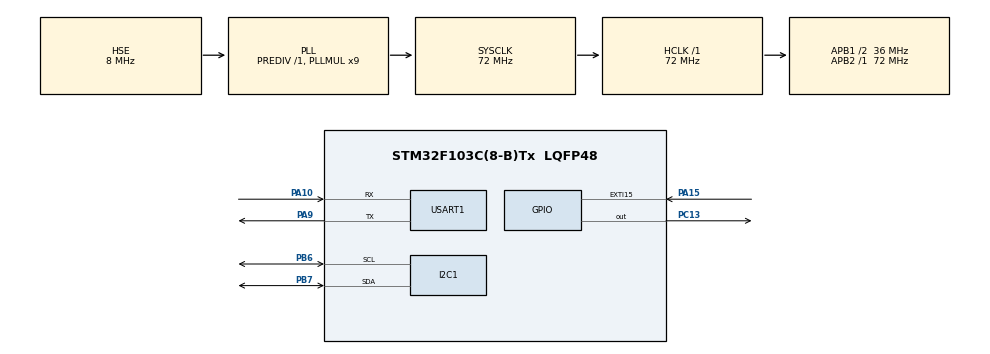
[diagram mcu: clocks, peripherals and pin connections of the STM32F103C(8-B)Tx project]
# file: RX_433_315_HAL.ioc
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I2C1.I2C_Mode=I2C_Fast
IWDG.Prescaler=IWDG_PRESCALER_64
Mcu.Family=STM32F1
Mcu.Name=STM32F103C(8-B)Tx
Mcu.Package=LQFP48
NVIC.EXTI15_10_IRQn=true\:0\:0\:false\:false\:true\:true\:true
NVIC.PriorityGroup=NVIC_PRIORITYGROUP_4
PA10.Mode=Asynchronous
PA10.Signal=USART1_RX
PA13.Mode=Serial_Wire
PA13.Signal=SYS_JTMS-SWDIO
PA14.Mode=Serial_Wire
PA14.Signal=SYS_JTCK-SWCLK
PA15.GPIO_ModeDefaultEXTI=GPIO_MODE_IT_RISING_FALLING
PA15.Signal=GPXTI15
PA9.Mode=Asynchronous
PA9.Signal=USART1_TX
PB6.Mode=I2C
PB6.Signal=I2C1_SCL
PB7.Mode=I2C
PB7.Signal=I2C1_SDA
PC13-TAMPER-RTC.Signal=GPIO_Output
PD0-OSC_IN.Mode=HSE-External-Oscillator
PD0-OSC_IN.Signal=RCC_OSC_IN
PD1-OSC_OUT.Mode=HSE-External-Oscillator
PD1-OSC_OUT.Signal=RCC_OSC_OUT
ProjectManager.HeapSize=0x200
ProjectManager.StackSize=0x400
ProjectManager.TargetToolchain=MDK-ARM V5.32
RCC.AHBFreq_Value=72000000
RCC.APB1CLKDivider=RCC_HCLK_DIV2
RCC.APB1Freq_Value=36000000
RCC.APB1TimFreq_Value=72000000
RCC.APB2Freq_Value=72000000
RCC.APB2TimFreq_Value=72000000
RCC.HCLKFreq_Value=72000000
RCC.PLLMUL=RCC_PLL_MUL9
RCC.PLLSourceVirtual=RCC_PLLSOURCE_HSE
RCC.SYSCLKFreq_VALUE=72000000
RCC.SYSCLKSource=RCC_SYSCLKSOURCE_PLLCLK
RCC.USBFreq_Value=72000000
USART1.VirtualMode=VM_ASYNC
VP_IWDG_VS_IWDG.Mode=IWDG_Activate
board=custom

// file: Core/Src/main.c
/* USER CODE BEGIN Header */
/**
  ******************************************************************************
 * Программа демонстрации приема данных с радиопульта дистанционного управления
 * Микроконтроллер - STM32F103CBT6 (Blue Pill)
 * Завершено 15.06.2022
 * Автор: MelexinVN / Мелехин Владимир Николаевич
 * МНХС
  ******************************************************************************
  */
/* USER CODE END Header */
#include "main.h"

I2C_HandleTypeDef hi2c1;

IWDG_HandleTypeDef hiwdg;

UART_HandleTypeDef huart1;

/* USER CODE BEGIN PV */
volatile uint8_t f_received = 0;			//флаг прихода послыки
extern uint8_t bit_array[SIZE_ARRAY];	//массив принятых битов
extern uint8_t dev_addr;							//адрес устройства
extern uint8_t tx_addr;								//адрес передатчика
extern uint8_t command;								//команда
extern uint8_t crc;										//контрольная сумма
char str[64] = {0};										//строка для отображения данных
/* USER CODE END PV */

void SystemClock_Config(void);
static void MX_GPIO_Init(void);
static void MX_IWDG_Init(void);
static void MX_USART1_UART_Init(void);
static void MX_I2C1_Init(void);

/* USER CODE BEGIN 0 */
//процедура обработки внешнего прерывания
void HAL_GPIO_EXTI_Callback(uint16_t GPIO_Pin)
{
	if(GPIO_Pin == SIGNAL_PIN)//если изменение произошло на сигнальном пине
	{
		RX_Input();	//запуск процедуры приема посылки
	}
}
/* USER CODE END 0 */

int main(void)
{

  /* MCU Configuration--------------------------------------------------------*/

  /* Reset of all peripherals, Initializes the Flash interface and the Systick. */
  HAL_Init();

  /* Configure the system clock */
  SystemClock_Config();

  /* Initialize all configured peripherals */
  MX_GPIO_Init();
  MX_IWDG_Init();
  MX_USART1_UART_Init();
  MX_I2C1_Init();
  /* USER CODE BEGIN 2 */
	//инициализация счетчмодуля DWT
  DWT_Init();
	//отправка в порт стартовой строки
	HAL_UART_Transmit(&huart1,(uint8_t*)"START\r\n",strlen("START\r\n"),0x1000);
	//инициализация дисплея
	//ssd1306_Init();
	//вывод на дисплей строки
	//ssd1306_WriteString("MHXC", Font_16x26, White);
	//обновление экрана
	//ssd1306_UpdateScreen();
  /* USER CODE END 2 */

  /* Infinite loop */
  /* USER CODE BEGIN WHILE */
  while (1)
  {

	  if(f_received == 1) //если пришёл пакет
	  {
			//ssd1306_Fill(Black);				//очищаем экран дисплея
			//формируем строку для отправки в порт принятых адресов, команды, контрольной суммы
			snprintf(str, 64, "addr: 0x%X, \t tx_addr: 0x%X, \t command: 0x%X, \t crc = 0x%X\r\n", dev_addr, tx_addr, command, crc);
		  //отправка данных в порт
			HAL_UART_Transmit(&huart1,(uint8_t*)str,strlen(str),0x1000);
			//установка курсора дисплея в начало
			//ssd1306_SetCursor(0, 0);
			//формирование строки для вывода на дисплей адреса устройства
			//sprintf(str, "device: %0x", dev_addr);
			//отправка строки на дисплей
			//ssd1306_WriteString(str, Font_7x10, White);

			//установка курсора в начало второй строки
			//ssd1306_SetCursor(0, 11);
			//формирование строки для вывода на дисплей адреса передатчика
			//sprintf(str, "transmitter: %0x", tx_addr);
			//отправка строки на дисплей
			//ssd1306_WriteString(str, Font_7x10, White);

			//установка курсора в начало третьей строки
			//ssd1306_SetCursor(0, 22);
			//формирование строки для вывода на дисплей команды
			//sprintf(str, "command: %0x", command);
			//отправка строки на дисплей
			//ssd1306_WriteString(str, Font_7x10, White);

			//ssd1306_UpdateScreen();	//обновление экрана

			//сброс значений переменных и массива битов
		  memset(bit_array, 0x00, SIZE_ARRAY);
		  dev_addr = 0;
		  tx_addr = 0;
		  command = 0;
			crc = 0;
			//опускаем флаг приема
		  f_received = 0;

		  __HAL_GPIO_EXTI_CLEAR_IT(SIGNAL_PIN);  // очищаем бит EXTI_PR
		  NVIC_ClearPendingIRQ(EXTI15_10_IRQn); // очищаем бит NVIC_ICPRx
		  HAL_NVIC_EnableIRQ(EXTI15_10_IRQn);   // включаем прерывания 433
			HAL_IWDG_Refresh(&hiwdg);	//сброс сторожевого таймера
		}

    /* USER CODE END WHILE */

    /* USER CODE BEGIN 3 */
		HAL_IWDG_Refresh(&hiwdg);	//сброс сторожевого таймера
  }
  /* USER CODE END 3 */
}

void SystemClock_Config(void)
{
  RCC_OscInitTypeDef RCC_OscInitStruct = {0};
  RCC_ClkInitTypeDef RCC_ClkInitStruct = {0};

  /** Initializes the RCC Oscillators according to the specified parameters
  * in the RCC_OscInitTypeDef structure.
  */
  RCC_OscInitStruct.OscillatorType = RCC_OSCILLATORTYPE_LSI|RCC_OSCILLATORTYPE_HSE;
  RCC_OscInitStruct.HSEState = RCC_HSE_ON;
  RCC_OscInitStruct.HSEPredivValue = RCC_HSE_PREDIV_DIV1;
  RCC_OscInitStruct.HSIState = RCC_HSI_ON;
  RCC_OscInitStruct.LSIState = RCC_LSI_ON;
  RCC_OscInitStruct.PLL.PLLState = RCC_PLL_ON;
  RCC_OscInitStruct.PLL.PLLSource = RCC_PLLSOURCE_HSE;
  RCC_OscInitStruct.PLL.PLLMUL = RCC_PLL_MUL9;
  if (HAL_RCC_OscConfig(&RCC_OscInitStruct) != HAL_OK)
  {
    Error_Handler();
  }
  /** Initializes the CPU, AHB and APB buses clocks
  */
  RCC_ClkInitStruct.ClockType = RCC_CLOCKTYPE_HCLK|RCC_CLOCKTYPE_SYSCLK
                              |RCC_CLOCKTYPE_PCLK1|RCC_CLOCKTYPE_PCLK2;
  RCC_ClkInitStruct.SYSCLKSource = RCC_SYSCLKSOURCE_PLLCLK;
  RCC_ClkInitStruct.AHBCLKDivider = RCC_SYSCLK_DIV1;
  RCC_ClkInitStruct.APB1CLKDivider = RCC_HCLK_DIV2;
  RCC_ClkInitStruct.APB2CLKDivider = RCC_HCLK_DIV1;

  if (HAL_RCC_ClockConfig(&RCC_ClkInitStruct, FLASH_LATENCY_2) != HAL_OK)
  {
    Error_Handler();
  }
}

static void MX_I2C1_Init(void)
{

  hi2c1.Instance = I2C1;
  hi2c1.Init.ClockSpeed = 400000;
  hi2c1.Init.DutyCycle = I2C_DUTYCYCLE_2;
  hi2c1.Init.OwnAddress1 = 0;
  hi2c1.Init.AddressingMode = I2C_ADDRESSINGMODE_7BIT;
  hi2c1.Init.DualAddressMode = I2C_DUALADDRESS_DISABLE;
  hi2c1.Init.OwnAddress2 = 0;
  hi2c1.Init.GeneralCallMode = I2C_GENERALCALL_DISABLE;
  hi2c1.Init.NoStretchMode = I2C_NOSTRETCH_DISABLE;
  if (HAL_I2C_Init(&hi2c1) != HAL_OK)
  {
    Error_Handler();
  }

}

static void MX_IWDG_Init(void)
{

  hiwdg.Instance = IWDG;
  hiwdg.Init.Prescaler = IWDG_PRESCALER_64;
  hiwdg.Init.Reload = 4095;
  if (HAL_IWDG_Init(&hiwdg) != HAL_OK)
  {
    Error_Handler();
  }

}

static void MX_USART1_UART_Init(void)
{

  huart1.Instance = USART1;
  huart1.Init.BaudRate = 115200;
  huart1.Init.WordLength = UART_WORDLENGTH_8B;
  huart1.Init.StopBits = UART_STOPBITS_1;
  huart1.Init.Parity = UART_PARITY_NONE;
  huart1.Init.Mode = UART_MODE_TX_RX;
  huart1.Init.HwFlowCtl = UART_HWCONTROL_NONE;
  huart1.Init.OverSampling = UART_OVERSAMPLING_16;
  if (HAL_UART_Init(&huart1) != HAL_OK)
  {
    Error_Handler();
  }

}

static void MX_GPIO_Init(void)
{
  GPIO_InitTypeDef GPIO_InitStruct = {0};

  /* GPIO Ports Clock Enable */
  __HAL_RCC_GPIOC_CLK_ENABLE();
  __HAL_RCC_GPIOD_CLK_ENABLE();
  __HAL_RCC_GPIOA_CLK_ENABLE();
  __HAL_RCC_GPIOB_CLK_ENABLE();

  /*Configure GPIO pin Output Level */
  HAL_GPIO_WritePin(GPIOC, GPIO_PIN_13, GPIO_PIN_RESET);

  /*Configure GPIO pin : PC13 */
  GPIO_InitStruct.Pin = GPIO_PIN_13;
  GPIO_InitStruct.Mode = GPIO_MODE_OUTPUT_PP;
  GPIO_InitStruct.Pull = GPIO_NOPULL;
  GPIO_InitStruct.Speed = GPIO_SPEED_FREQ_LOW;
  HAL_GPIO_Init(GPIOC, &GPIO_InitStruct);

  /*Configure GPIO pin : PA15 */
  GPIO_InitStruct.Pin = GPIO_PIN_15;
  GPIO_InitStruct.Mode = GPIO_MODE_IT_RISING_FALLING;
  GPIO_InitStruct.Pull = GPIO_NOPULL;
  HAL_GPIO_Init(GPIOA, &GPIO_InitStruct);

  /* EXTI interrupt init*/
  HAL_NVIC_SetPriority(EXTI15_10_IRQn, 0, 0);
  HAL_NVIC_EnableIRQ(EXTI15_10_IRQn);

}

void Error_Handler(void)
{
  __disable_irq();
  while (1)
  {
  }
}
